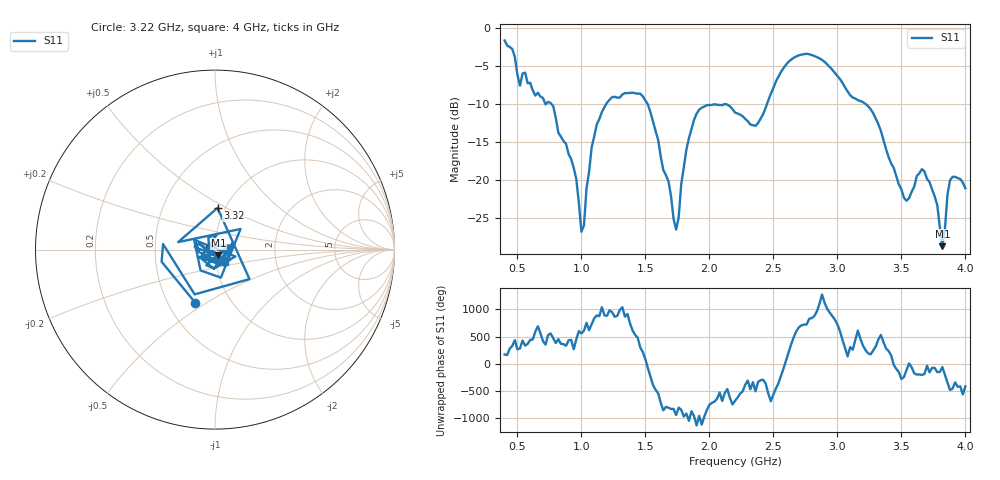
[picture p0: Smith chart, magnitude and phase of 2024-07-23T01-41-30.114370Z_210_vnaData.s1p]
!Created with skrf (http://scikit-rf.org).
# Hz S RI R 50.0
!freq ReS11 ImS11
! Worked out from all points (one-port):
!   181 points, 400 MHz to 4 GHz, reference 50 ohm
!   lowest |S11| = -28.7 dB at 3.82 GHz (marker M1), VSWR 1.08, Z = 51.9 - j3.25 ohm
!   |S11| at or under -10 dB: 764.5 MHz to 1.195 GHz (430.6 MHz wide, 43.9 % of centre); 1.516 GHz to 2.45 GHz (934.3 MHz wide, 47.1 % of centre); 3.219 GHz to end of sweep (the widest 3 of 4)
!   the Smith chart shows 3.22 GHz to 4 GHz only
!   S11 on the Smith chart (normalised r, x): 3.22 GHz: 0.68, -0.45; 3.32 GHz: 0.92, +0.45; 4 GHz: 1.10, -0.15
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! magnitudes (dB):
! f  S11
! 400 MHz  -1.7
! 520 MHz  -7.6
! 560 MHz  -5.9
! 780 MHz  -10.3
! 860 MHz  -14.9
! 960 MHz  -19.9
! 1 GHz  -26.8
! 1.12 GHz  -12.7
! 1.3 GHz  -9.2
! 1.52 GHz  -10.1
! 1.68 GHz  -20.2
! 1.74 GHz  -26.5
! 1.76 GHz  -24.9
! 1.82 GHz  -16.0
! 1.9 GHz  -11.3
! 2.2 GHz  -11.1
! 2.36 GHz  -12.9
! 2.66 GHz  -3.9
! 2.88 GHz  -4.2
! 3.1 GHz  -8.9
! 3.22 GHz  -10.0
! 3.32 GHz  -12.7
! 3.56 GHz  -22.4
! 3.68 GHz  -18.9
! 3.78 GHz  -23.3
! 3.82 GHz  -28.7
! 3.88 GHz  -20.0
! 4 GHz  -21.1
